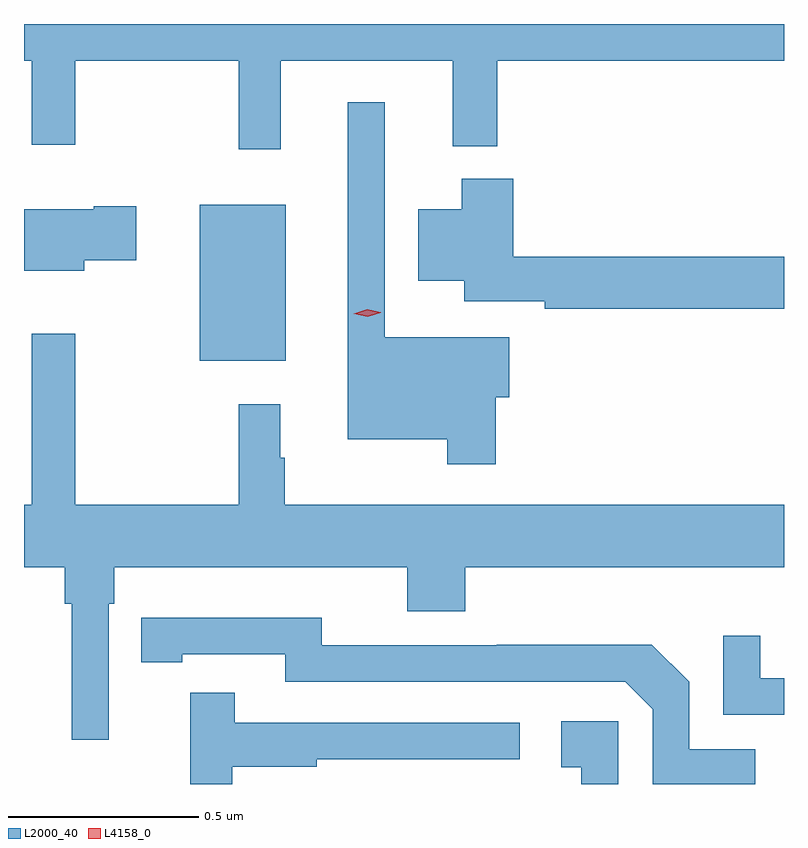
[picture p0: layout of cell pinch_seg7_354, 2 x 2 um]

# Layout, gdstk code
import gdstk
lib = gdstk.Library(unit=1e-6, precision=1e-09)
def R(c, l, rs):  # rectangles x0, y0, x1, y1
    for r in rs: c.add(gdstk.rectangle(r[:2], r[2:], *l))
def P(c, l, *ps):  # polygons
    for p in ps: c.add(gdstk.Polygon(p, *l))
L2000_40 = (2000, 40)
L4158_0 = (4158, 0)

pinch_seg7_354 = lib.new_cell('pinch_seg7_354')
R(pinch_seg7_354, L2000_40, [(470.15,1071.755,470.377,1072.165)])
P(pinch_seg7_354, L2000_40, [(470.363,1072.544),(470.816,1072.544),(470.816,1072.319),(470.933,1072.319),(470.933,1072.544),(471.688,1072.544),(471.688,1072.641),(469.688,1072.641),(469.688,1072.544),(469.709,1072.544),(469.709,1072.323),(469.823,1072.323),(469.823,1072.544),(470.253,1072.544),(470.253,1072.311),(470.363,1072.311)],
  [(470.93,1071.659),(470.965,1071.659),(470.965,1071.817),(470.637,1071.817),(470.637,1072.435),(470.54,1072.435),(470.54,1071.548),(470.802,1071.548),(470.802,1071.483),(470.93,1071.483)],
  [(471.688,1072.028),(470.975,1072.028),(470.975,1072.234),(470.84,1072.234),(470.84,1072.153),(470.726,1072.153),(470.726,1071.965),(470.846,1071.965),(470.846,1071.912),(471.058,1071.912),(471.058,1071.892),(471.688,1071.892)],
  [(469.846,1072.019),(469.984,1072.019),(469.984,1072.161),(469.871,1072.161),(469.871,1072.153),(469.688,1072.153),(469.688,1071.992),(469.846,1071.992)],
  [(469.911,1071.116),(469.925,1071.116),(469.925,1071.212),(470.696,1071.212),(470.696,1071.095),(470.849,1071.095),(470.849,1071.212),(471.688,1071.212),(471.688,1071.376),(470.374,1071.376),(470.374,1071.5),(470.362,1071.5),(470.362,1071.64),(470.253,1071.64),(470.253,1071.376),(469.823,1071.376),(469.823,1071.826),(469.709,1071.826),(469.709,1071.376),(469.688,1071.376),(469.688,1071.212),(469.795,1071.212),(469.795,1071.116),(469.814,1071.116),(469.814,1070.757),(469.911,1070.757)],
  [(471.612,1070.733),(471.438,1070.733),(471.438,1070.91),(471.34,1071.008),(470.932,1071.008),(470.932,1071.006),(470.472,1071.006),(470.472,1071.079),(470.104,1071.079),(470.104,1071.078),(469.996,1071.078),(469.996,1070.962),(470.104,1070.962),(470.104,1070.982),(470.376,1070.982),(470.376,1070.91),(471.27,1070.91),(471.342,1070.838),(471.342,1070.641),(471.612,1070.641)],
  [(471.688,1070.919),(471.625,1070.919),(471.625,1071.031),(471.528,1071.031),(471.528,1070.823),(471.688,1070.823)],
  [(470.236,1070.686),(470.459,1070.686),(470.459,1070.706),(470.992,1070.706),(470.992,1070.802),(470.243,1070.802),(470.243,1070.881),(470.126,1070.881),(470.126,1070.641),(470.236,1070.641)],
  [(471.252,1070.806),(471.102,1070.806),(471.102,1070.685),(471.155,1070.685),(471.155,1070.641),(471.252,1070.641)])
P(pinch_seg7_354, L4158_0, [(470.592,1071.87),(470.556,1071.879),(470.555,1071.879),(470.556,1071.879),(470.591,1071.89),(470.627,1071.882),(470.627,1071.881),(470.627,1071.881)])

lib.write_gds('pinch_seg7_354.gds')
